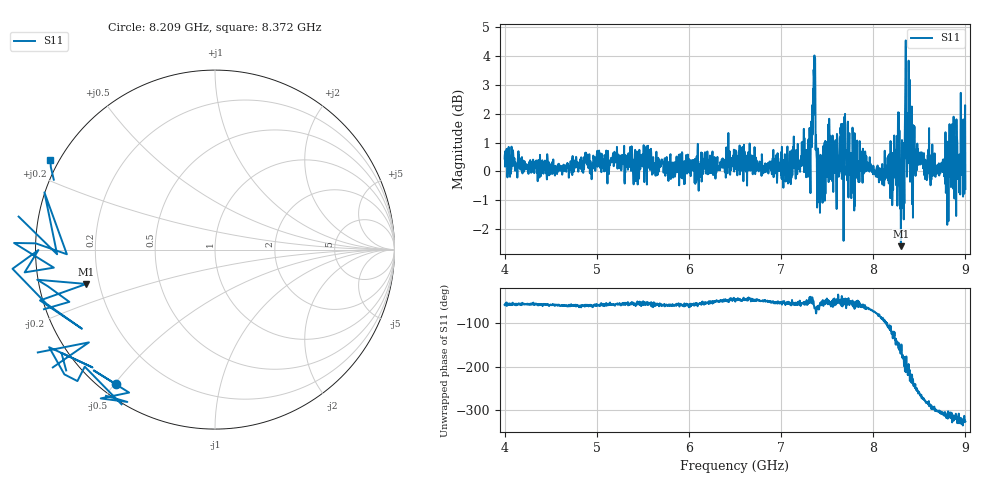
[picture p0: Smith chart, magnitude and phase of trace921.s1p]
! Created with skrf 1.8.0 (http://scikit-rf.org).
# Hz S RI R 50.0
!freq ReS11 ImS11
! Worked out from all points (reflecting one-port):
!   1601 points, 4 GHz to 9 GHz, reference 50 ohm
!   lowest |S11| = -2.6 dB at 8.3 GHz (marker M1), VSWR 6.76, Z = 7.53 - j6.41 ohm
!   phase of S11 starts at -59 deg and turns -266 deg over the sweep
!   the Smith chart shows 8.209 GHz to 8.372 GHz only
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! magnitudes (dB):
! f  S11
! 4 GHz  0.4
! 4.625 GHz  -0.1
! 5.25 GHz  0.2
! 5.875 GHz  0.2
! 6.5 GHz  0.1
! 7.125 GHz  0.1
! 7.241 GHz  1.0
! 7.294 GHz  0.2
! 7.325 GHz  1.5
! 7.347 GHz  2.9
! 7.362 GHz  4.0
! 7.4 GHz  0.8
! 7.412 GHz  -1.1
! 7.538 GHz  0.7
! 7.609 GHz  1.2
! 7.669 GHz  1.6
! 7.75 GHz  0.1
! 8.2 GHz  -0.9
! 8.262 GHz  -1.2
! 8.3 GHz  -2.6
! 8.316 GHz  -0.1
! 8.334 GHz  0.0
! 8.375 GHz  1.0
! 8.381 GHz  0.3
! 8.447 GHz  1.6
! 8.794 GHz  0.5
! 8.972 GHz  0.5
! 9 GHz  -0.6
